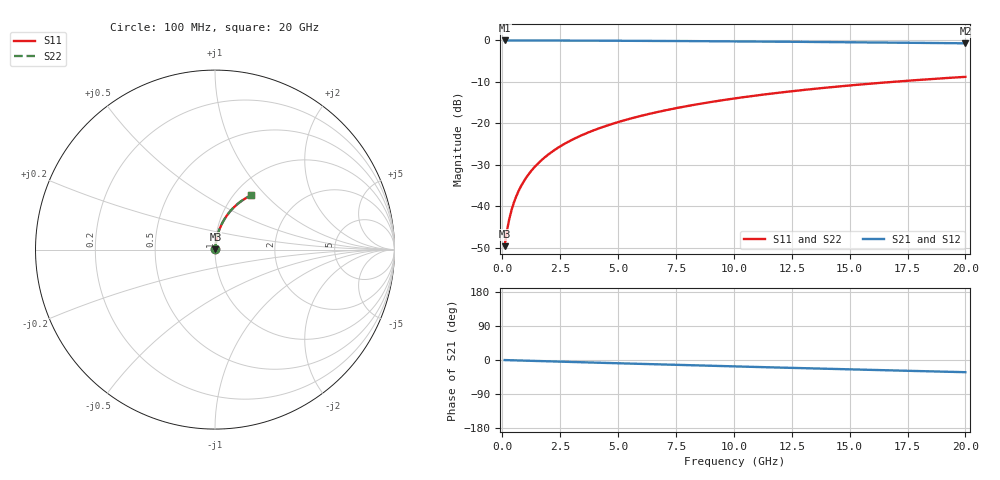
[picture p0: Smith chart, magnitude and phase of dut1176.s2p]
! Touchstone file exported from HFSS 2026.1.0
!  File:  C:/ffzhzh/LocalFiles/Ansys_Project_Files/temp_train_TMRDL_1176_1783162559_22436.aedt
!  Generated:  06:57:15 PM Jul  4, 2026
!  Design:  TMRDL
!  Project:  temp_train_TMRDL_1176_1783162559_22436
! Variables:
!  h_bsmrdl = 2um
!  h_ox = 20um
!  h_rdl = 5um
!  h_sub = 80um
!  h_tmrdl = 5.25um
!  h_tsv = 80um
!  h_via = 3um
!  l_bsmrdl = 300um
!  l_sub = 815.34um
!  l_tmrdl = 415.34um
!  m_sub = 200um
!  pitch = 44.44um
!  r_tsv = 6um
!  s_tmrdl = 10um
!  w_bsmrdl = 18um
!  w_sub = 500um
!  w_tmrdl = 11.64um
!  x_tsv_center1 = 421.16um
!  x_tsv_center2 = 739.16um
!  x_tsv_center3 = 1166.14um
!  x_tsv_center4 = 1484.14um
!  x_tsv_center5 = 1911.12um
!  x_tsv_center6 = 2229.12um
# GHz S MA R 50.000000
! Terminal data exported
! Port[1] = TM_RDL1_1_T1
! Port[2] = TM_RDL1_1_T2
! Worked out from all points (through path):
!   200 points, 100 MHz to 20 GHz, reference 50 ohm
!   highest |S21| = -0.02 dB at 100 MHz (marker M1); lowest = -0.7 dB at 20 GHz (marker M2)
!   group delay of S21, straight-line fit = 4.47 ps
!   lowest |S11| = -49.6 dB at 100 MHz (marker M3), VSWR 1.01, Z = 50.2 + j0.22 ohm
!   |S11| at or under -10 dB: start of sweep to 16.88 GHz
!   |S22| runs from -49.6 to -8.8 dB; largest |S21 - S12| = 3e-15
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0.1  0.003302 41.4  0.9975 -0.2  0.9975 -0.2  0.003302 41.4
! Gamma 0 0 0 0
! Port Impedance 50 0 50 0
0.2  0.005036 59.6  0.9975 -0.4  0.9975 -0.4  0.005036 59.6
0.3  0.006993 67.9  0.9974 -0.5  0.9974 -0.5  0.006993 67.9
0.4  0.009016 72.4  0.9973 -0.7  0.9973 -0.7  0.009016 72.4
0.5  0.01106 75.1  0.9973 -0.9  0.9973 -0.9  0.01106 75.1
0.6  0.01313 77.0  0.9972 -1.1  0.9972 -1.1  0.01313 77.0
0.8  0.01728 79.3  0.9971 -1.4  0.9971 -1.4  0.01728 79.3
1.1  0.02354 81.0  0.9968 -1.9  0.9968 -1.9  0.02354 81.0
1.5  0.0319 81.9  0.9965 -2.6  0.9965 -2.6  0.0319 81.9
1.8  0.03816 82.1  0.9961 -3.1  0.9961 -3.1  0.03816 82.1
2.1  0.04441 82.1  0.9957 -3.7  0.9957 -3.7  0.04441 82.1
2.7  0.05684 81.6  0.9948 -4.7  0.9948 -4.7  0.05684 81.6
3.5  0.07324 80.7  0.9932 -6.1  0.9932 -6.1  0.07324 80.7
4.2  0.08743 79.8  0.9916 -7.3  0.9916 -7.3  0.08743 79.8
5  0.1034 78.6  0.9896 -8.6  0.9896 -8.6  0.1034 78.6
5.9  0.1212 77.2  0.987 -10.1  0.987 -10.1  0.1212 77.2
6.8  0.1387 75.9  0.9842 -11.6  0.9842 -11.6  0.1387 75.9
8.3  0.1673 73.6  0.9791 -14.1  0.9791 -14.1  0.1673 73.6
10.1  0.2007 70.8  0.9721 -17.0  0.9721 -17.0  0.2007 70.8
13.4  0.2591 65.8  0.9572 -22.2  0.9572 -22.2  0.2591 65.9
16.7  0.3134 61.0  0.9402 -27.3  0.9402 -27.3  0.3134 61.0
20  0.3633 56.3  0.9217 -32.2  0.9217 -32.2  0.3633 56.3
